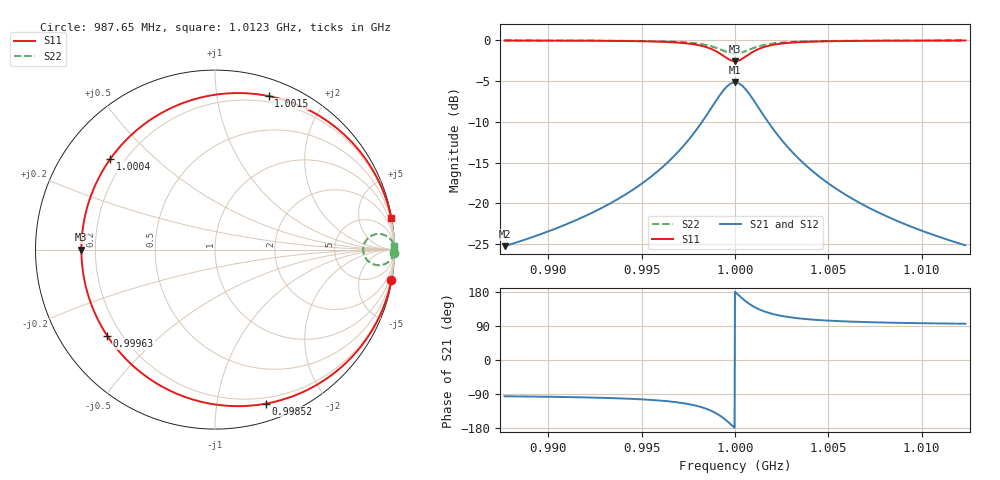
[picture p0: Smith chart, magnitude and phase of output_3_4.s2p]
! File generated for n1 = 3, n2 = 4
! b1 = 21.544347
! b2 = 2.154435
! Q0 = 10000.000000
! f0 = 1000000000.000000
! n = 1001
! rel_span = 10.000000
# Hz S RI R 50
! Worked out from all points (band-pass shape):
!   1001 points, 987.65 MHz to 1.0123 GHz, reference 50 ohm
!   highest |S21| = -5.17 dB at 1 GHz (marker M1); lowest = -25.3 dB at 987.65 MHz (marker M2)
!   |S21| within 3 dB of the highest: 998.7687 MHz to 1.001233 GHz (2.464 MHz wide, 0.246 % of centre)
!   lowest |S11| = -2.6 dB at 1 GHz (marker M3), VSWR 6.83, Z = 7.32 + j0 ohm
!   |S11| at or under -10 dB: nowhere
!   |S22| runs from -1.7 to 0.0 dB; largest |S21 - S12| = 0
!   S11 on the Smith chart (normalised r, x): 987.65 MHz: 0, -12; 998.52 MHz: 0.15, -1.38; 999.63 MHz: 0.15, -0.34; 1.0004 GHz: 0.15, +0.37; 1.0015 GHz: 0.15, +1.40; 1.0123 GHz: 0, +11
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9.876506e8  0.9829 -0.1717  -0.0054 -0.0543  -0.0054 -0.0543  0.9983 -0.0172
9.917753e8  0.9618 -0.2552  -0.0121 -0.0807  -0.0121 -0.0807  0.9962 -0.0255
9.941217e8  0.9267 -0.3501  -0.0232 -0.1107  -0.0232 -0.1107  0.9927 -0.035
9.959e8  0.8554 -0.4809  -0.0457 -0.1521  -0.0457 -0.1521  0.9855 -0.0481
9.974807e8  0.6627 -0.689  -0.1067 -0.2179  -0.1067 -0.2179  0.9663 -0.0689
9.980488e8  0.5017 -0.788  -0.1576 -0.2492  -0.1576 -0.2492  0.9502 -0.0788
9.985181e8  0.2856 -0.8579  -0.2259 -0.2713  -0.2259 -0.2713  0.9286 -0.0858
9.991355e8  -0.1705 -0.8197  -0.3702 -0.2592  -0.3702 -0.2592  0.8829 -0.082
9.993825e8  -0.3955 -0.698  -0.4413 -0.2207  -0.4413 -0.2207  0.8605 -0.0698
9.996295e8  -0.6005 -0.4802  -0.5061 -0.1519  -0.5061 -0.1519  0.84 -0.048
1e9  -0.7446 0  -0.5517 0  -0.5517 0  0.8255 0
1.000198e9  -0.701 0.2721  -0.5379 0.0861  -0.5379 0.0861  0.8299 0.0272
1.000395e9  -0.5826 0.5063  -0.5005 0.1601  -0.5005 0.1601  0.8417 0.0506
1.000617e9  -0.3958 0.6977  -0.4414 0.2206  -0.4414 0.2206  0.8604 0.0698
1.000864e9  -0.1712 0.8195  -0.3704 0.2591  -0.3704 0.2591  0.8829 0.0819
1.001136e9  0.0547 0.8692  -0.2989 0.2749  -0.2989 0.2749  0.9055 0.0869
1.001507e9  0.2983 0.8554  -0.2219 0.2705  -0.2219 0.2705  0.9298 0.0855
1.001976e9  0.5093 0.7844  -0.1552 0.2481  -0.1552 0.2481  0.9509 0.0784
1.002544e9  0.6666 0.6859  -0.1054 0.2169  -0.1054 0.2169  0.9667 0.0686
1.004125e9  0.8559 0.4802  -0.0456 0.1518  -0.0456 0.1518  0.9856 0.048
1.008249e9  0.9615 0.2564  -0.0122 0.0811  -0.0122 0.0811  0.9961 0.0256
1.012349e9  0.9825 0.1738  -0.00553 0.055  -0.00553 0.055  0.9983 0.0174
